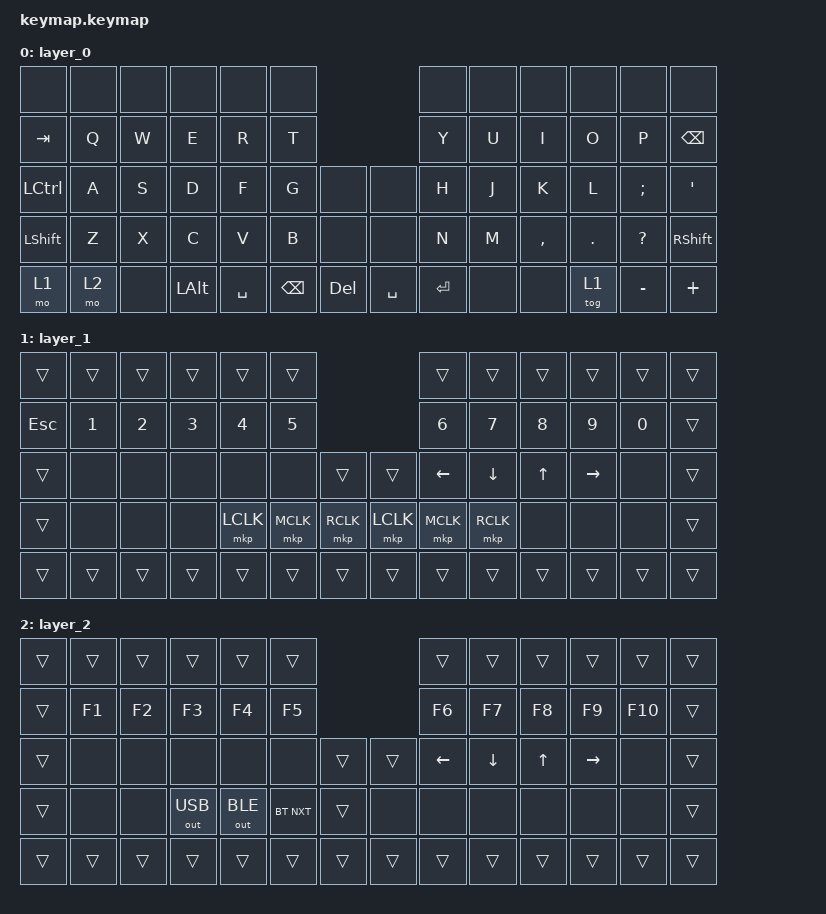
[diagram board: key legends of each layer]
#include <behaviors.dtsi>
#include <dt-bindings/zmk/bt.h>
#include <dt-bindings/zmk/keys.h>
#include <dt-bindings/zmk/outputs.h>
#include <dt-bindings/zmk/pointing.h>

/ {
    combos {
        compatible = "zmk,combos";

        bt_clear {
            bindings = <&bt BT_CLR>;
            key-positions = <28 29>;
            layers = <1>;
        };
    };

    keymap {
        compatible = "zmk,keymap";

        layer_0 {
            bindings = <
&none      &none  &none  &none     &none      &none                              &none      &none  &none      &none    &none         &none
&kp TAB    &kp Q  &kp W  &kp E     &kp R      &kp T                              &kp Y      &kp U  &kp I      &kp O    &kp P         &kp BSPC
&kp LCTRL  &kp A  &kp S  &kp D     &kp F      &kp G          &none    &none      &kp H      &kp J  &kp K      &kp L    &kp SEMI      &kp SQT
&kp LSHFT  &kp Z  &kp X  &kp C     &kp V      &kp B          &none    &none      &kp N      &kp M  &kp COMMA  &kp DOT  &kp QUESTION  &kp RSHFT
&mo 1      &mo 2  &none  &kp LALT  &kp SPACE  &kp BACKSPACE  &kp DEL  &kp SPACE  &kp ENTER  &none  &none      &tog 1   &kp MINUS     &kp PLUS
            >;
        };

        layer_1 {
            bindings = <
&trans   &trans  &trans  &trans  &trans     &trans                           &trans     &trans     &trans  &trans     &trans  &trans
&kp ESC  &kp N1  &kp N2  &kp N3  &kp N4     &kp N5                           &kp N6     &kp N7     &kp N8  &kp N9     &kp N0  &trans
&trans   &none   &none   &none   &none      &none      &trans     &trans     &kp LEFT   &kp DOWN   &kp UP  &kp RIGHT  &none   &trans
&trans   &none   &none   &none   &mkp LCLK  &mkp MCLK  &mkp RCLK  &mkp LCLK  &mkp MCLK  &mkp RCLK  &none   &none      &none   &trans
&trans   &trans  &trans  &trans  &trans     &trans     &trans     &trans     &trans     &trans     &trans  &trans     &trans  &trans
            >;
        };

        layer_2 {
            bindings = <
&trans  &trans  &trans  &trans        &trans        &trans                      &trans    &trans    &trans        &trans     &trans   &trans
&trans  &kp F1  &kp F2  &kp F3        &kp F4        &kp F5                      &kp F6    &kp F7    &kp F8        &kp F9     &kp F10  &trans
&trans  &none   &none   &none         &none         &none       &trans  &trans  &kp LEFT  &kp DOWN  &kp UP_ARROW  &kp RIGHT  &none    &trans
&trans  &none   &none   &out OUT_USB  &out OUT_BLE  &bt BT_NXT  &trans  &none   &none     &none     &none         &none      &none    &trans
&trans  &trans  &trans  &trans        &trans        &trans      &trans  &trans  &trans    &trans    &trans        &trans     &trans   &trans
            >;
        };
    };
};
